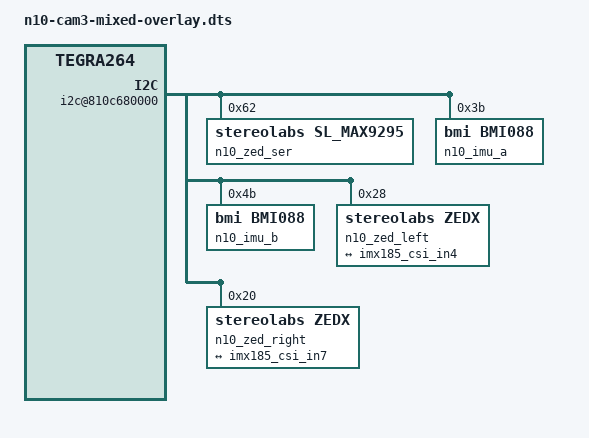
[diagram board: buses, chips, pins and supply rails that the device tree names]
// Current N10 only: preserve SHW VC1/2; route ZED eyes to VC0/3.
/dts-v1/;
/plugin/;
#define NUM_LANES 4
#include "ar0234-sl-modes.dtsi"

/ {
    overlay-name = "N10 CAM3 SHW V6/V7 plus ZED V8";
    compatible = "nvidia,p4071-0000+p3834-0008", "nvidia,tegra264";

    fragment@4 {
        target-path = "/";
        __overlay__ {
            n10-cam3-mixed {
                compatible = "n10,cam3-mixed-zedx";
                nvidia,gmsl-dser-device = <&dser_b>;
                channel = "a";
                camera-serializers = <&n10_zed_ser>;
                status = "okay";
            };
        };
    };

    fragment@0 {
        target-path = "/bus@0/i2c@810c680000";
        __overlay__ {
            #address-cells = <1>;
            #size-cells = <0>;
            imx185_e@1f { status = "disabled"; };
            imx185_h@22 { status = "disabled"; };
            n10_zed_ser: zedx_ser@62 {
                compatible = "stereolabs,sl_max9295";
                reg = <0x62>;
                zedx-id = "0";
                channel = "a";
                mode = "master";
                camera_model = "zedx";
                camera-sensors = <&n10_zed_left &n10_zed_right>;
                imu = <&n10_imu_a &n10_imu_b>;
            };
            n10_imu_a: bmi088@3b {
                compatible = "bmi,bmi088";
                reg = <0x3b>;
                accel_i2c_addr = <0x3c>;
                accel_matrix = [01 00 00 00 01 00 00 00 01];
                gyro_matrix = [01 00 00 00 01 00 00 00 01];
            };
            n10_imu_b: bmi088@4b {
                compatible = "bmi,bmi088";
                reg = <0x4b>;
                accel_i2c_addr = <0x4c>;
                accel_matrix = [01 00 00 00 01 00 00 00 01];
                gyro_matrix = [01 00 00 00 01 00 00 00 01];
            };
            n10_zed_left: zedx_left@28 {
                compatible = "stereolabs,zedx";
                reg = <0x28>;
                clocks = <&bpmp 0x116>, <&bpmp 0x116>;
                clock-names = "extperiph1", "pllp_grtba";
                mclk = "extperiph1";
                zedx-id = "0";
                channel = "a";
                has-eeprom;
                eeprom-addr = <0x54>;
                devnode = "video4";
                sync_sensor = "ZED_CAM0";
                sync_sensor_index = <2>;
                AR0234_MODES("0", "serial_c", "0")
                ports {
                    #address-cells = <1>; #size-cells = <0>;
                    port@0 {
                        reg = <0>;
                        n10_zed_out0: endpoint {
                            vc-id = <0>; port-index = <2>; bus-width = <4>;
                            opt-csi-port = "b"; i2c-cc = <0>;
                            remote-endpoint = <&imx185_csi_in4>;
                        };
                    };
                };
            };
            n10_zed_right: zedx_right@20 {
                compatible = "stereolabs,zedx";
                reg = <0x20>;
                clocks = <&bpmp 0x116>, <&bpmp 0x116>;
                clock-names = "extperiph1", "pllp_grtba";
                mclk = "extperiph1";
                zedx-id = "0";
                channel = "a";
                has-eeprom;
                eeprom-addr = <0x54>;
                devnode = "video7";
                sync_sensor = "ZED_CAM0";
                sync_sensor_index = <1>;
                AR0234_MODES("3", "serial_c", "0")
                ports {
                    #address-cells = <1>; #size-cells = <0>;
                    port@0 {
                        reg = <0>;
                        n10_zed_out1: endpoint {
                            vc-id = <3>; port-index = <2>; bus-width = <4>;
                            opt-csi-port = "b"; i2c-cc = <0>;
                            remote-endpoint = <&imx185_csi_in7>;
                        };
                    };
                };
            };
        };
    };
    fragment@1 { target = <&imx185_csi_in4>; __overlay__ { remote-endpoint = <&n10_zed_out0>; }; };
    fragment@2 { target = <&imx185_csi_in7>; __overlay__ { remote-endpoint = <&n10_zed_out1>; }; };
    fragment@3 {
        target-path = "/tegra-camera-platform/modules";
        __overlay__ {
            // Argus/SDK pair 0 must contain the two optical eyes consecutively.
            // SDK left @20/VC3 and right @28/VC0; coordinator maps their pipes.
            module0 {
                badge = "zedx_ar0234"; position = "bottomleft"; status = "okay";
                drivernode0 { status = "okay"; pcl_id = "v4l2_sensor"; devname = "zedx 7-0020";
                    sysfs-device-tree = "/sys/firmware/devicetree/base/bus@0/i2c@810c680000/zedx_right@20"; };
            };
            module1 {
                badge = "zedx_ar0234"; position = "bottomright"; status = "okay";
                drivernode0 { status = "okay"; pcl_id = "v4l2_sensor"; devname = "zedx 7-0028";
                    sysfs-device-tree = "/sys/firmware/devicetree/base/bus@0/i2c@810c680000/zedx_left@28"; };
            };
            module2 {
                badge = "imx185_topright_liimx185"; position = "topright"; status = "okay";
                drivernode0 { status = "okay"; pcl_id = "v4l2_sensor"; devname = "shw5g_30fps 7-0012";
                    sysfs-device-tree = "/sys/firmware/devicetree/base/bus@0/i2c@810c680000/imx185_f@20"; };
            };
            module3 {
                badge = "imx185_bottomcenter_liimx185"; position = "bottomcenter"; status = "okay";
                drivernode0 { status = "okay"; pcl_id = "v4l2_sensor"; devname = "shw5g_30fps 7-0013";
                    sysfs-device-tree = "/sys/firmware/devicetree/base/bus@0/i2c@810c680000/imx185_g@21"; };
            };
            module4 { status = "disabled"; drivernode0 { status = "disabled"; }; };
            module5 { status = "disabled"; drivernode0 { status = "disabled"; }; };
            module6 { status = "disabled"; drivernode0 { status = "disabled"; }; };
            module7 { status = "disabled"; drivernode0 { status = "disabled"; }; };
        };
    };
};
